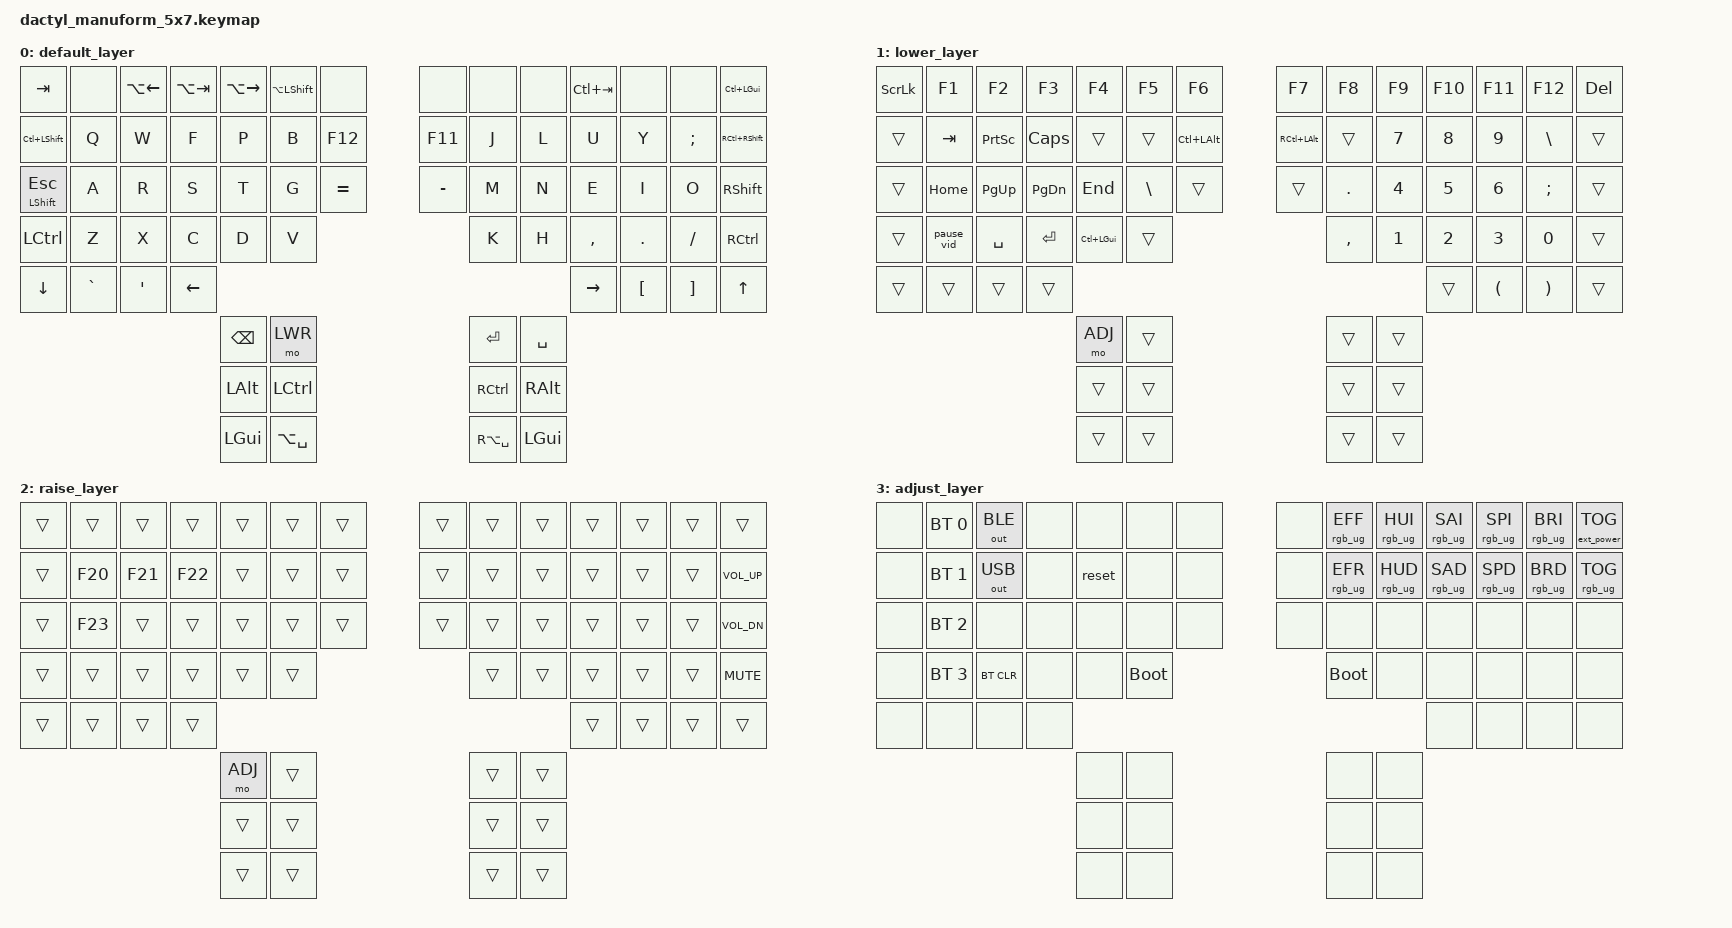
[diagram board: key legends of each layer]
#include <behaviors.dtsi>
#include <dt-bindings/zmk/keys.h>
#include <dt-bindings/zmk/bt.h>
#include <dt-bindings/zmk/rgb.h>
#include <dt-bindings/zmk/ext_power.h>
#include <dt-bindings/zmk/outputs.h>

#define DEFAULT 0
#define LWR 1
#define RSE 2
#define ADJ 3

/ {
    behaviors {
      pht: positional_hold_tap {
          compatible = "zmk,behavior-hold-tap";
          label = "POSITIONAL_HOLD_TAP";
          #binding-cells = <2>;
          flavor = "hold-preferred";
          tapping-term-ms = <180>;
          bindings = <&kp>, <&kp>;
      }; /* quick-tap-ms = <100>; */
    };
    macros {
      pause_vid: pause_vid {
          label = "pause_vid";
          compatible = "zmk,behavior-macro";
          #binding-cells = <0>;
          wait-ms = <150>;
          bindings
              = <&macro_tap_time 10>
              , <&kp LA(TAB)>
              , <&kp SPACE>
              , <&macro_tap_time 10>
              , <&kp LA(TAB)>
              ;
      };
    };
    keymap {
        compatible = "zmk,keymap";

        default_layer {
            bindings = <
&kp TAB       &none  &kp LA(LEFT) &kp LA(TAB) &kp LA(RIGHT) &kp LA(LSHFT)       &none                                                                                                       &none         &none      &none    &kp LC(TAB)  &none      &none      &kp LC(LGUI)
&kp LC(LSHFT)  &kp Q     &kp W     &kp F      &kp P     &kp B              &kp F12                                                                                                        &kp F11       &kp J      &kp L      &kp U      &kp Y      &kp SEMI   &kp RC(RSHFT)
&pht LSHFT ESC &kp A     &kp R     &kp S      &kp T     &kp G             &kp EQUAL                                                                                                       &kp MINUS     &kp M      &kp N      &kp E      &kp I      &kp O      &kp RSHFT
&kp LCTRL      &kp Z     &kp X     &kp C      &kp D     &kp V                                                                                                                                           &kp K      &kp H      &kp COMMA  &kp DOT   &kp FSLH    &kp RCTRL
&kp DOWN       &kp GRAVE &kp SQT   &kp LEFT                                                                                                                                                                        &kp RIGHT  &kp LBKT  &kp RBKT    &kp UP
                                                                                                                &kp BSPC  &mo LWR                   &kp RET  &kp SPACE
                                                                                                                &kp LALT &kp LCTRL                 &kp RCTRL &kp RALT
                                                                                                                &kp LGUI &kp LA(SPACE)         &kp RA(SPACE) &kp LGUI
            >;
        };

        lower_layer {
            bindings = <
                &kp SLCK &kp F1      &kp F2    &kp F3    &kp F4 &kp F5                 &kp F6                                                                                                         &kp F7   &kp F8    &kp F9       &kp F10     &kp F11   &kp F12     &kp DEL
                &trans   &kp TAB     &kp PSCRN &kp CAPS  &trans &trans                 &kp LC(LALT)                                                                                                &kp RC(LALT)   &trans    &kp N7       &kp N8   &kp N9    &kp BSLH    &trans
                &trans   &kp HOME    &kp PG_UP &kp PG_DN &kp END &kp BSLH              &trans                                                                                                      &trans   &kp DOT   &kp N4        &kp N5      &kp N6    &kp SEMI    &trans
                &trans   &pause_vid  &kp SPACE &kp RET &kp LC(LGUI) &trans                                                                                                                                  &kp COMMA &kp N1        &kp N2  &kp N3    &kp N0      &trans
                &trans  &trans       &trans    &trans                                                                                                                                                                               &trans   &kp LPAR &kp RPAR    &trans
                                                                                                                &mo ADJ &trans                        &trans &trans
                                                                                                                &trans  &trans                        &trans &trans
                                                                                                                &trans  &trans                        &trans &trans
            >;
        };

        raise_layer {
            bindings = <
              &trans  &trans &trans &trans &trans &trans &trans         &trans  &trans &trans &trans &trans &trans &trans
             &trans &kp F20 &kp F21 &kp F22 &trans &trans &trans        &trans  &trans &trans &trans &trans &trans &kp K_VOL_UP
              &trans &kp F23 &trans &trans &trans &trans &trans         &trans  &trans &trans &trans &trans &trans &kp K_VOL_DN
              &trans  &trans &trans &trans &trans &trans                        &trans &trans &trans &trans &trans &kp K_MUTE
              &trans  &trans &trans &trans                                                    &trans &trans &trans &trans
                                             &mo ADJ &trans                       &trans &trans
                                             &trans  &trans                       &trans &trans
                                             &trans  &trans                       &trans &trans
            >;
        };

        adjust_layer {
            bindings = <
                &none &bt BT_SEL 0 &out OUT_BLE &none &none  &none &none        &none &rgb_ug RGB_EFF &rgb_ug RGB_HUI &rgb_ug RGB_SAI &rgb_ug RGB_SPI &rgb_ug RGB_BRI &ext_power EP_TOG
                &none &bt BT_SEL 1 &out OUT_USB &none &reset &none &none        &none &rgb_ug RGB_EFR &rgb_ug RGB_HUD &rgb_ug RGB_SAD &rgb_ug RGB_SPD &rgb_ug RGB_BRD &rgb_ug RGB_TOG
                &none &bt BT_SEL 2 &none        &none &none  &none &none        &none &none           &none           &none           &none           &none           &none
                &none &bt BT_SEL 3 &bt BT_CLR   &none &none  &bootloader              &bootloader     &none           &none           &none           &none           &none
                &none &none        &none        &none                                                                 &none           &none           &none           &none
                                                            &none &none                      &none &none
                                                                  &none &none          &none &none
                                                                  &none &none          &none &none
            >;
        };
    };
};
